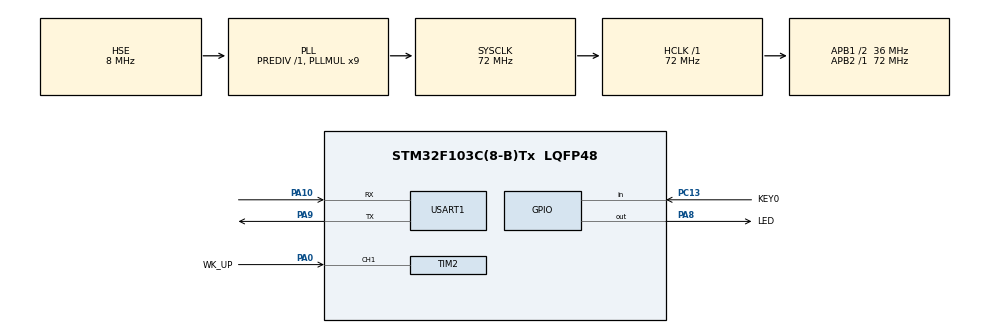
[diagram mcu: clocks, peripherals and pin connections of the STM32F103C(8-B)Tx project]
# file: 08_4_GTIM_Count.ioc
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Mcu.Family=STM32F1
Mcu.Name=STM32F103C(8-B)Tx
Mcu.Package=LQFP48
NVIC.PriorityGroup=NVIC_PRIORITYGROUP_2
NVIC.TIM2_IRQn=true\:2\:1\:true\:false\:true\:true\:true\:true
NVIC.USART1_IRQn=true\:2\:0\:true\:false\:true\:true\:true\:true
PA0-WKUP.GPIO_Label=WK_UP
PA0-WKUP.GPIO_PuPd=GPIO_PULLDOWN
PA0-WKUP.Signal=S_TIM2_CH1_ETR
PA10.Mode=Asynchronous
PA10.Signal=USART1_RX
PA13.Mode=Serial_Wire
PA13.Signal=SYS_JTMS-SWDIO
PA14.Mode=Serial_Wire
PA14.Signal=SYS_JTCK-SWCLK
PA8.GPIO_Label=LED
PA8.GPIO_PuPd=GPIO_PULLUP
PA8.GPIO_Speed=GPIO_SPEED_FREQ_HIGH
PA8.PinState=GPIO_PIN_SET
PA8.Signal=GPIO_Output
PA9.Mode=Asynchronous
PA9.Signal=USART1_TX
PC13-TAMPER-RTC.GPIO_Label=KEY0
PC13-TAMPER-RTC.GPIO_PuPd=GPIO_PULLUP
PC13-TAMPER-RTC.Signal=GPIO_Input
PC14-OSC32_IN.Mode=LSE-External-Oscillator
PC14-OSC32_IN.Signal=RCC_OSC32_IN
PC15-OSC32_OUT.Mode=LSE-External-Oscillator
PC15-OSC32_OUT.Signal=RCC_OSC32_OUT
PD0-OSC_IN.Mode=HSE-External-Oscillator
PD0-OSC_IN.Signal=RCC_OSC_IN
PD1-OSC_OUT.Mode=HSE-External-Oscillator
PD1-OSC_OUT.Signal=RCC_OSC_OUT
ProjectManager.HeapSize=0x200
ProjectManager.StackSize=0x400
ProjectManager.TargetToolchain=STM32CubeIDE
RCC.AHBFreq_Value=72000000
RCC.APB1CLKDivider=RCC_HCLK_DIV2
RCC.APB1Freq_Value=36000000
RCC.APB1TimFreq_Value=72000000
RCC.APB2Freq_Value=72000000
RCC.APB2TimFreq_Value=72000000
RCC.HCLKFreq_Value=72000000
RCC.PLLMUL=RCC_PLL_MUL9
RCC.PLLSourceVirtual=RCC_PLLSOURCE_HSE
RCC.SYSCLKFreq_VALUE=72000000
RCC.SYSCLKSource=RCC_SYSCLKSOURCE_PLLCLK
RCC.USBFreq_Value=72000000
SH.S_TIM2_CH1_ETR.0=TIM2_CH1,TriggerSource_TI1FP1
TIM2.AutoReloadPreload=TIM_AUTORELOAD_PRELOAD_ENABLE
USART1.VirtualMode=VM_ASYNC
VP_TIM2_VS_ControllerModeClock.Mode=Clock Mode
board=custom

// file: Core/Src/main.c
/**
 ****************************************************************************************************
 * @file        main.c
 * @author      ALIENTEK
 * @brief       General-purpose timers pulse count code
 * @license     Copyright (C) 2020-2032, ALIENTEK
 ****************************************************************************************************
 * @attention
 *
 * platform  	: ALIENTEK STM32F103 development board
 * website		: https://www.alientek.com
 * forum		: http://www.openedv.com/forum.php
 *
 * change logs	:
 * version		data		notes
 * V1.0			20240222	the first version
 *
 ****************************************************************************************************
 */

/* USER CODE BEGIN Header */

/* USER CODE END Header */
#include "main.h"
#include "tim.h"
#include "usart.h"
#include "gpio.h"

/* USER CODE BEGIN Includes */
#include "../../BSP/LED/led.h"
#include "../../BSP/KEY/key.h"
/* USER CODE END Includes */

void SystemClock_Config(void);

int main(void)
{
  /* USER CODE BEGIN 1 */
	  uint32_t curcnt = 0;
	  uint32_t oldcnt = 0;
	  uint8_t key = 0;
	  uint8_t t = 0;
  /* USER CODE END 1 */

  /* MCU Configuration--------------------------------------------------------*/

  /* Reset of all peripherals, Initializes the Flash interface and the Systick. */
  HAL_Init();

  /* Configure the system clock */
  SystemClock_Config();

  /* Initialize all configured peripherals */
  MX_GPIO_Init();
  MX_USART1_UART_Init();
  MX_TIM2_Init();
  /* USER CODE BEGIN 2 */

  gtim_timx_cnt_chy_restart();            /* Restart counting. */

  /* USER CODE END 2 */

  /* Infinite loop */
  /* USER CODE BEGIN WHILE */
  while (1)
  {
	  key = key_scan(0);                      /* scan key */

	  if (key == KEY0_PRES)                   /* KEY0 is pressed to restart the count */
	  {
	  	 gtim_timx_cnt_chy_restart();         /* Restart counting. */
	  }

	  curcnt = gtim_timx_cnt_chy_get_count(); /* Getting the count. */

	  if (oldcnt != curcnt)
	  {
	  	 oldcnt = curcnt;
	  	 printf("CNT:%lu\r\n", oldcnt);       /* Print the number of pulses. */
	  }

	  t++;

	  if (t > 20)                             /* Enter once in 200ms. */
	  {
	  	 t = 0;
	     LED_TOGGLE();                        /* LED blinks to prompt the program to run */
	  }

	  HAL_Delay(10);                          /* delay 10ms */
    /* USER CODE END WHILE */

  }
}

void SystemClock_Config(void)
{
  RCC_OscInitTypeDef RCC_OscInitStruct = {0};
  RCC_ClkInitTypeDef RCC_ClkInitStruct = {0};

  /** Initializes the RCC Oscillators according to the specified parameters
  * in the RCC_OscInitTypeDef structure.
  */
  RCC_OscInitStruct.OscillatorType = RCC_OSCILLATORTYPE_HSE;
  RCC_OscInitStruct.HSEState = RCC_HSE_ON;
  RCC_OscInitStruct.HSEPredivValue = RCC_HSE_PREDIV_DIV1;
  RCC_OscInitStruct.HSIState = RCC_HSI_ON;
  RCC_OscInitStruct.PLL.PLLState = RCC_PLL_ON;
  RCC_OscInitStruct.PLL.PLLSource = RCC_PLLSOURCE_HSE;
  RCC_OscInitStruct.PLL.PLLMUL = RCC_PLL_MUL9;
  if (HAL_RCC_OscConfig(&RCC_OscInitStruct) != HAL_OK)
  {
    Error_Handler();
  }

  /** Initializes the CPU, AHB and APB buses clocks
  */
  RCC_ClkInitStruct.ClockType = RCC_CLOCKTYPE_HCLK|RCC_CLOCKTYPE_SYSCLK
                              |RCC_CLOCKTYPE_PCLK1|RCC_CLOCKTYPE_PCLK2;
  RCC_ClkInitStruct.SYSCLKSource = RCC_SYSCLKSOURCE_PLLCLK;
  RCC_ClkInitStruct.AHBCLKDivider = RCC_SYSCLK_DIV1;
  RCC_ClkInitStruct.APB1CLKDivider = RCC_HCLK_DIV2;
  RCC_ClkInitStruct.APB2CLKDivider = RCC_HCLK_DIV1;

  if (HAL_RCC_ClockConfig(&RCC_ClkInitStruct, FLASH_LATENCY_2) != HAL_OK)
  {
    Error_Handler();
  }
}

void Error_Handler(void)
{
  __disable_irq();
  while (1)
  {
  }
}
